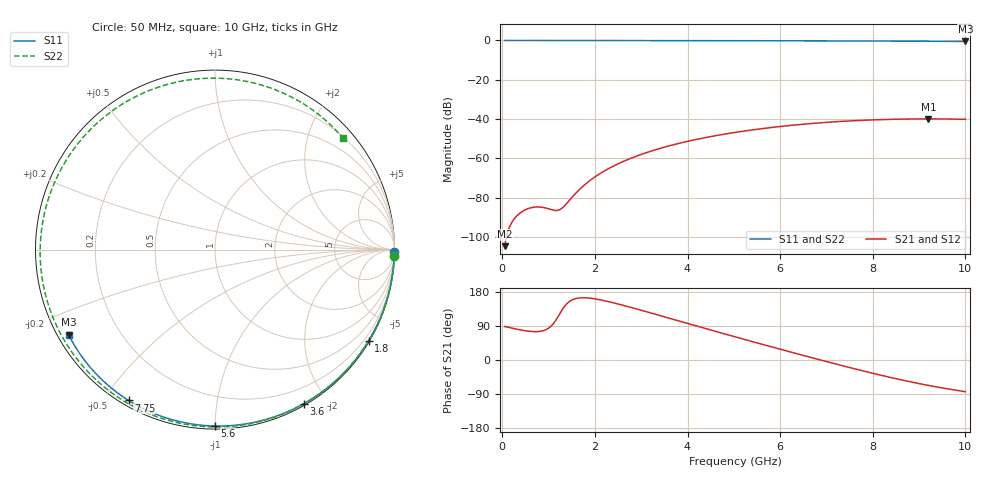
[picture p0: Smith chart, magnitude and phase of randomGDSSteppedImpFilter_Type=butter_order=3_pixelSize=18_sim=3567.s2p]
! freq	dB(S11)	phase(S11)	dB(S12)	phase(S12)
!  dB(S21)	phase(S21)	dB(S22)	phase(S22)
!S-par simulation data
#  GHz  S  DB  R 50
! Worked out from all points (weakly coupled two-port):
!   200 points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, 50 MHz to 10 GHz, reference 50 ohm
!   highest |S21| = -39.87 dB at 9.2 GHz (marker M1); lowest = -104.6 dB at 50 MHz (marker M2)
!   lowest |S11| = -0.5 dB at 10 GHz (marker M3), VSWR 34.40, Z = 1.56 - j13.5 ohm
!   |S11| at or under -10 dB: nowhere
!   |S22| runs from -0.5 to 0.0 dB; largest |S21 - S12| = 0
!   S11 on the Smith chart (normalised r, x): 50 MHz: open; 1.8 GHz: 0.03, -3.63; 3.6 GHz: 0.02, -1.73; 5.6 GHz: 0.02, -1.00; 7.75 GHz: 0.02, -0.58; 10 GHz: 0.03, -0.27
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0.05  -0.00 -0.9  -104.58 88.6  -104.58 88.6  -0.00 -2.1
0.35  -0.01 -6.1  -88.36 80.4  -88.36 80.4  -0.02 -14.6
0.7  -0.02 -12.1  -84.71 74.8  -84.71 74.8  -0.04 -28.9
1.1  -0.02 -18.9  -86.26 95.5  -86.26 95.5  -0.05 -44.9
1.5  -0.03 -25.7  -79.89 158.1  -79.89 158.1  -0.07 -60.2
1.75  -0.04 -29.9  -73.95 164.3  -73.95 164.3  -0.08 -69.5
1.8  -0.04 -30.8  -72.94 164.1  -72.94 164.1  -0.08 -71.3
2.1  -0.05 -35.8  -67.82 159.2  -67.82 159.2  -0.10 -82.0
2.45  -0.05 -41.6  -63.27 149.4  -63.27 149.4  -0.11 -94.0
2.9  -0.06 -48.9  -58.78 134.7  -58.78 134.7  -0.12 -108.7
3.4  -0.08 -56.9  -54.91 117.4  -54.91 117.4  -0.14 -124.1
3.6  -0.08 -60.0  -53.60 110.4  -53.60 110.4  -0.15 -130.0
4.35  -0.10 -71.6  -49.54 84.3  -49.54 84.3  -0.18 -151.4
5.05  -0.13 -82.0  -46.66 60.4  -46.66 60.4  -0.21 -170.6
5.6  -0.15 -90.0  -44.85 41.8  -44.85 41.8  -0.24 174.6
6.15  -0.17 -97.9  -43.37 23.5  -43.37 23.5  -0.27 159.8
6.7  -0.21 -105.5  -42.17 5.5  -42.17 5.5  -0.30 144.6
7.75  -0.28 -119.8  -40.62 -27.6  -40.62 -27.6  -0.36 114.4
8.35  -0.33 -127.8  -40.13 -45.1  -40.13 -45.1  -0.39 95.9
8.8  -0.37 -133.8  -39.93 -57.2  -39.93 -57.2  -0.41 81.5
9.2  -0.41 -139.1  -39.87 -67.0  -39.87 -67.0  -0.43 68.4
10  -0.51 -149.8  -40.08 -83.7  -40.08 -83.7  -0.48 41.2
